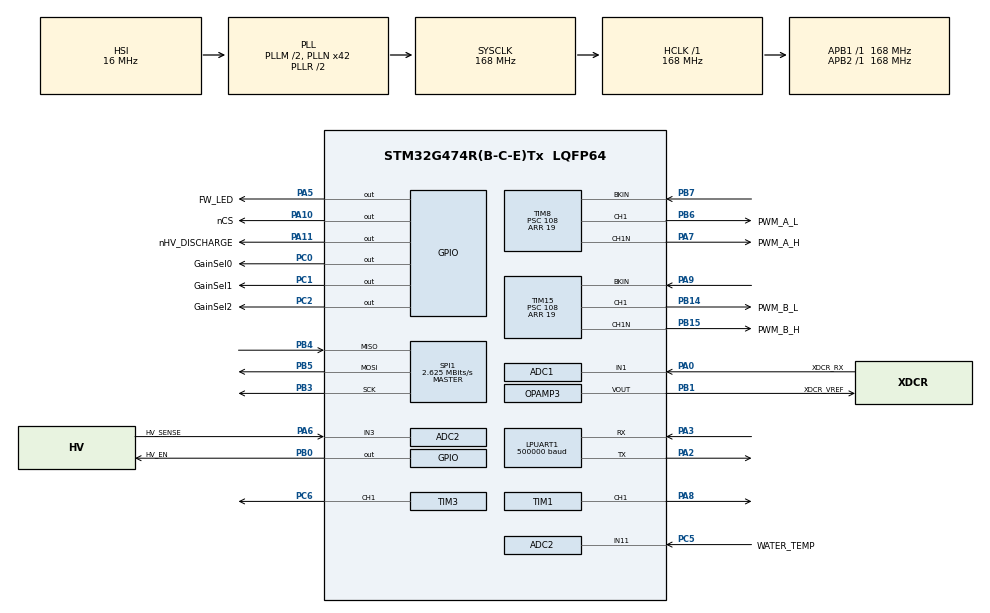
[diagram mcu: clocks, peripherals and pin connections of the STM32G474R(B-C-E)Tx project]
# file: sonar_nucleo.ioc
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ADC1.Channel-0\#ChannelRegularConversion=ADC_CHANNEL_1
ADC1.DMAContinuousRequests=ENABLE
ADC1.ExternalTrigConv=ADC_EXTERNALTRIG_T1_TRGO
ADC1.NbrOfConversionFlag=1
ADC1.OffsetNumber-0\#ChannelRegularConversion=ADC_OFFSET_NONE
ADC1.Rank-0\#ChannelRegularConversion=1
ADC1.SamplingTime-0\#ChannelRegularConversion=ADC_SAMPLETIME_2CYCLES_5
ADC1.master=1
ADC2.Channel-1\#ChannelRegularConversion=ADC_CHANNEL_3
ADC2.Channel-4\#ChannelRegularConversion=ADC_CHANNEL_11
ADC2.ContinuousConvMode=DISABLE
ADC2.DMAContinuousRequests=ENABLE
ADC2.EOCSelection=ADC_EOC_SEQ_CONV
ADC2.NbrOfConversion=2
ADC2.NbrOfConversionFlag=1
ADC2.OffsetNumber-1\#ChannelRegularConversion=ADC_OFFSET_NONE
ADC2.OffsetNumber-4\#ChannelRegularConversion=ADC_OFFSET_NONE
ADC2.Overrun=ADC_OVR_DATA_PRESERVED
ADC2.Rank-1\#ChannelRegularConversion=1
ADC2.Rank-4\#ChannelRegularConversion=2
ADC2.SamplingTime-1\#ChannelRegularConversion=ADC_SAMPLETIME_92CYCLES_5
ADC2.SamplingTime-4\#ChannelRegularConversion=ADC_SAMPLETIME_92CYCLES_5
DAC3.DAC_Channel-DAC_OUT2_Int=DAC_CHANNEL_2
Dma.ADC1.2.Direction=DMA_PERIPH_TO_MEMORY
Dma.ADC1.2.EventEnable=DISABLE
Dma.ADC1.2.Instance=DMA1_Channel3
Dma.ADC1.2.MemDataAlignment=DMA_MDATAALIGN_HALFWORD
Dma.ADC1.2.MemInc=DMA_MINC_ENABLE
Dma.ADC1.2.Mode=DMA_NORMAL
Dma.ADC1.2.PeriphDataAlignment=DMA_PDATAALIGN_HALFWORD
Dma.ADC1.2.PeriphInc=DMA_PINC_DISABLE
Dma.ADC1.2.Polarity=HAL_DMAMUX_REQ_GEN_RISING
Dma.ADC1.2.Priority=DMA_PRIORITY_LOW
Dma.ADC1.2.RequestNumber=1
Dma.ADC1.2.SignalID=NONE
Dma.ADC1.2.SyncEnable=DISABLE
Dma.ADC1.2.SyncPolarity=HAL_DMAMUX_SYNC_NO_EVENT
Dma.ADC1.2.SyncRequestNumber=1
Dma.ADC1.2.SyncSignalID=NONE
Dma.ADC2.0.Direction=DMA_PERIPH_TO_MEMORY
Dma.ADC2.0.EventEnable=DISABLE
Dma.ADC2.0.Instance=DMA1_Channel1
Dma.ADC2.0.MemDataAlignment=DMA_MDATAALIGN_HALFWORD
Dma.ADC2.0.MemInc=DMA_MINC_ENABLE
Dma.ADC2.0.Mode=DMA_NORMAL
Dma.ADC2.0.PeriphDataAlignment=DMA_PDATAALIGN_HALFWORD
Dma.ADC2.0.PeriphInc=DMA_PINC_DISABLE
Dma.ADC2.0.Polarity=HAL_DMAMUX_REQ_GEN_RISING
Dma.ADC2.0.Priority=DMA_PRIORITY_LOW
Dma.ADC2.0.RequestNumber=1
Dma.ADC2.0.SignalID=NONE
Dma.ADC2.0.SyncEnable=DISABLE
Dma.ADC2.0.SyncPolarity=HAL_DMAMUX_SYNC_NO_EVENT
Dma.ADC2.0.SyncRequestNumber=1
Dma.ADC2.0.SyncSignalID=NONE
Dma.Request0=ADC2
Dma.Request1=SPI1_TX
Dma.Request2=ADC1
Dma.SPI1_TX.1.Direction=DMA_MEMORY_TO_PERIPH
Dma.SPI1_TX.1.EventEnable=DISABLE
Dma.SPI1_TX.1.Instance=DMA1_Channel2
Dma.SPI1_TX.1.MemDataAlignment=DMA_MDATAALIGN_BYTE
Dma.SPI1_TX.1.MemInc=DMA_MINC_ENABLE
Dma.SPI1_TX.1.Mode=DMA_NORMAL
Dma.SPI1_TX.1.PeriphDataAlignment=DMA_PDATAALIGN_BYTE
Dma.SPI1_TX.1.PeriphInc=DMA_PINC_DISABLE
Dma.SPI1_TX.1.Polarity=HAL_DMAMUX_REQ_GEN_RISING
Dma.SPI1_TX.1.Priority=DMA_PRIORITY_LOW
Dma.SPI1_TX.1.RequestNumber=1
Dma.SPI1_TX.1.SignalID=NONE
Dma.SPI1_TX.1.SyncEnable=DISABLE
Dma.SPI1_TX.1.SyncPolarity=HAL_DMAMUX_SYNC_NO_EVENT
Dma.SPI1_TX.1.SyncRequestNumber=1
Dma.SPI1_TX.1.SyncSignalID=NONE
LPUART1.BaudRate=500000
Mcu.Family=STM32G4
Mcu.Name=STM32G474R(B-C-E)Tx
Mcu.Package=LQFP64
NVIC.ADC1_2_IRQn=true\:6\:0\:true\:false\:true\:true\:true\:true
NVIC.DMA1_Channel2_IRQn=true\:5\:0\:true\:false\:true\:true\:false\:true
NVIC.LPUART1_IRQn=true\:5\:0\:true\:false\:true\:true\:false\:true
NVIC.PriorityGroup=NVIC_PRIORITYGROUP_4
NVIC.SPI1_IRQn=true\:5\:0\:true\:false\:true\:true\:false\:true
NVIC.TIM2_IRQn=true\:4\:0\:true\:false\:true\:true\:true\:true
NVIC.TIM3_IRQn=true\:5\:0\:true\:false\:true\:true\:true\:true
PA0.GPIO_Label=XDCR_RX
PA0.Mode=IN1-Single-Ended
PA0.Signal=ADC1_IN1
PA10.GPIO_Label=nCS
PA10.Signal=GPIO_Output
PA11.GPIO_Label=nHV_DISCHARGE
PA11.Signal=GPIO_Output
PA13.Mode=Serial_Wire
PA13.Signal=SYS_JTMS-SWDIO
PA14.Mode=Serial_Wire
PA14.Signal=SYS_JTCK-SWCLK
PA2.Mode=Asynchronous
PA2.Signal=LPUART1_TX
PA3.Mode=Asynchronous
PA3.Signal=LPUART1_RX
PA5.GPIO_Label=FW_LED
PA5.Signal=GPIO_Output
PA6.GPIO_Label=HV_SENSE
PA6.Mode=IN3-Single-Ended
PA6.Signal=ADC2_IN3
PA7.GPIO_Label=PWM_A_H
PA7.GPIO_PuPd=GPIO_PULLDOWN
PA7.Mode=PWM Generation1 CH1 CH1N
PA7.Signal=TIM8_CH1N
PA8.Signal=S_TIM1_CH1
PA9.Mode=Activate-Break-Input
PA9.Signal=TIM15_BKIN
PB0.GPIO_Label=HV_EN
PB0.Signal=GPIO_Output
PB1.GPIO_Label=XDCR_VREF
PB1.Mode=Follower-DAC_OUT2-INP
PB1.Signal=OPAMP3_VOUT
PB14.GPIO_Label=PWM_B_L
PB14.GPIO_PuPd=GPIO_PULLDOWN
PB14.Signal=S_TIM15_CH1
PB15.GPIO_Label=PWM_B_H
PB15.GPIO_PuPd=GPIO_PULLDOWN
PB15.Mode=PWM Generation1 CH1 CH1N
PB15.Signal=TIM15_CH1N
PB3.Mode=Full_Duplex_Master
PB3.Signal=SPI1_SCK
PB4.Mode=Full_Duplex_Master
PB4.Signal=SPI1_MISO
PB5.Mode=Full_Duplex_Master
PB5.Signal=SPI1_MOSI
PB6.GPIO_Label=PWM_A_L
PB6.GPIO_PuPd=GPIO_PULLDOWN
PB6.Signal=S_TIM8_CH1
PB7.Mode=Activate-Break-Input
PB7.Signal=TIM8_BKIN
PC0.GPIO_Label=GainSel0
PC0.Signal=GPIO_Output
PC1.GPIO_Label=GainSel1
PC1.Signal=GPIO_Output
PC2.GPIO_Label=GainSel2
PC2.Signal=GPIO_Output
PC5.GPIO_Label=WATER_TEMP
PC5.Mode=IN11-Single-Ended
PC5.Signal=ADC2_IN11
PC6.Signal=S_TIM3_CH1
ProjectManager.HeapSize=0x000
ProjectManager.StackSize=0x400
ProjectManager.TargetToolchain=EWARM V8.50
RCC.ADC12CLockSelection=RCC_ADC12CLKSOURCE_PLL
RCC.ADC12Freq_Value=56000000
RCC.ADC345Freq_Value=168000000
RCC.AHBFreq_Value=168000000
RCC.APB1Freq_Value=168000000
RCC.APB1TimFreq_Value=168000000
RCC.APB2Freq_Value=168000000
RCC.APB2TimFreq_Value=168000000
RCC.CortexFreq_Value=168000000
RCC.EXTERNAL_CLOCK_VALUE=12288000
RCC.HCLKFreq_Value=168000000
RCC.HSE_VALUE=24000000
RCC.HSI48_VALUE=48000000
RCC.HSI_VALUE=16000000
RCC.LSE_VALUE=32768
RCC.PLLM=RCC_PLLM_DIV2
RCC.PLLN=42
RCC.PLLP=RCC_PLLP_DIV6
RCC.SYSCLKFreq_VALUE=168000000
RCC.SYSCLKSource=RCC_SYSCLKSOURCE_PLLCLK
RCC.USBFreq_Value=168000000
RCC.VCOOutputFreq_Value=336000000
SH.S_TIM15_CH1.0=TIM15_CH1,PWM Generation1 CH1 CH1N
SH.S_TIM1_CH1.0=TIM1_CH1,PWM Generation1 CH1
SH.S_TIM3_CH1.0=TIM3_CH1,PWM Generation1 CH1
SH.S_TIM8_CH1.0=TIM8_CH1,PWM Generation1 CH1 CH1N
SPI1.BaudRatePrescaler=SPI_BAUDRATEPRESCALER_64
SPI1.CalculateBaudRate=2.625 MBits/s
SPI1.Direction=SPI_DIRECTION_2LINES
SPI1.Mode=SPI_MODE_MASTER
SPI1.VirtualType=VM_MASTER
TIM1.Channel-PWM\ Generation1\ CH1=TIM_CHANNEL_1
TIM1.PeriodNoDither=44
TIM1.PulseNoDither_1=22
TIM1.TIM_MasterOutputTrigger=TIM_TRGO_UPDATE
TIM15.Channel-PWM\ Generation1\ CH1\ CH1N=TIM_CHANNEL_1
TIM15.Channel-PWM\ Generation2\ No\ Output=TIM_CHANNEL_2
TIM15.DeadTime=50
TIM15.PeriodNoDither=19
TIM15.Prescaler=108
TIM15.PulseNoDither_1=15
TIM15.RepetitionCounter=0
TIM15.TIM_MasterOutputTrigger=TIM_TRGO_UPDATE
TIM2.Channel-PWM\ Generation1\ No\ Output=TIM_CHANNEL_1
TIM2.PulseNoDither_1=500
TIM2.TIM_MasterOutputTrigger=TIM_TRGO_OC1REF
TIM3.Channel-PWM\ Generation1\ CH1=TIM_CHANNEL_1
TIM3.OCMode_PWM-PWM\ Generation1\ CH1=TIM_OCMODE_PWM2
TIM3.PeriodNoDither=30
TIM3.Prescaler=108
TIM3.PulseNoDither_1=25
TIM8.Channel-PWM\ Generation1\ CH1\ CH1N=TIM_CHANNEL_1
TIM8.Channel-PWM\ Generation2\ No\ Output=TIM_CHANNEL_2
TIM8.DeadTime=50
TIM8.OCIdleState_1=TIM_OCIDLESTATE_RESET
TIM8.OCMode_PWM-PWM\ Generation2\ No\ Output=TIM_OCMODE_PWM2
TIM8.OCNIdleState_1=TIM_OCNIDLESTATE_RESET
TIM8.PeriodNoDither=19
TIM8.Prescaler=108
TIM8.PulseNoDither_1=15
TIM8.PulseNoDither_2=10
TIM8.RepetitionCounter=20
TIM8.TIM_MasterOutputTrigger=TIM_TRGO_OC2REF
VP_DAC3_VS_DACI2.Mode=DAC_OUT2_Int
VP_SYS_VS_DBSignals.Mode=DisableDeadBatterySignals
VP_SYS_V_VREFBUF.Mode=ExternalMode
VP_TIM15_VS_ClockSourceINT.Mode=Internal
VP_TIM15_VS_ClockSourceITR.Mode=TriggerSource_ITR5
VP_TIM15_VS_ControllerModeCombinedResetTrigger.Mode=Combined_Reset_Trigger_Mode
VP_TIM15_VS_OPM.Mode=OPM_bit
VP_TIM15_VS_no_output2.Mode=PWM Generation2 No Output
VP_TIM1_VS_ClockSourceINT.Mode=Internal
VP_TIM1_VS_ClockSourceITR.Mode=TriggerSource_ITR1
VP_TIM1_VS_ControllerModeCombinedResetTrigger.Mode=Combined_gated_reset_Mode
VP_TIM2_VS_ClockSourceITR.Mode=TriggerSource_ITR0
VP_TIM2_VS_ControllerModeClock.Mode=Clock Mode
VP_TIM2_VS_no_output1.Mode=PWM Generation1 No Output
VP_TIM3_VS_ClockSourceINT.Mode=Internal
VP_TIM3_VS_ClockSourceITR.Mode=TriggerSource_ITR5
VP_TIM3_VS_ControllerModeCombinedResetTrigger.Mode=Combined_Reset_Trigger_Mode
VP_TIM3_VS_OPM.Mode=OPM_bit
VP_TIM8_VS_ClockSourceINT.Mode=Internal
VP_TIM8_VS_ClockSourceITR.Mode=TriggerSource_ITR1
VP_TIM8_VS_ControllerModeCombinedResetTrigger.Mode=Combined_Reset_Trigger_Mode
VP_TIM8_VS_OPM.Mode=OPM_bit
VP_TIM8_VS_no_output2.Mode=PWM Generation2 No Output
board=custom

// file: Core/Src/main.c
/* USER CODE BEGIN Header */
/**
 ******************************************************************************
 * @file           : main.c
 * @brief          : Main program body
 ******************************************************************************
 * @attention
 *
 * Copyright (c) 2024 STMicroelectronics.
 * All rights reserved.
 *
 * This software is licensed under terms that can be found in the LICENSE file
 * in the root directory of this software component.
 * If no LICENSE file comes with this software, it is provided AS-IS.
 *
 ******************************************************************************
 */
/* USER CODE END Header */
#include "main.h"

/* USER CODE BEGIN Includes */

#include "blinky.h"
#include "bsp.h"
#include "director.h"
#include "pc_com.h"
#include "posted_signals.h"
#include "qpc.h"
#include "reset.h"
#include <stdbool.h>
#include <stdio.h>
#include <stdlib.h>
#include <string.h>

/* USER CODE END Includes */

/* USER CODE BEGIN PTD */

// QP Priorities for Active Objects must be unique
// Lower number is lower priority
// 0 is reserved, lowest available is 1
typedef enum
{
    AO_RESERVED = 0U,
    AO_PRIO_BLINKY,
    AO_PRIO_DIRECTOR,
    AO_PRIO_APP_CLI,
    AO_PRIO_APP_PC_COM,
} AO_Priority_T;

typedef struct
{
    union
    {
        QEvt base_event;
        FloatEvent_T float_event;
    } small_messages;
} SmallMessageUnion_T;
typedef struct
{
    union
    {
        QEvt someMultipleQEvt[4];
        DebugForceFaultEvent_T fault_event;
        DrawBodePlotEvent_T plot_bode_plot_event;
    } medium_messages;
} MediumMessageUnion_T;
typedef struct
{
    union
    {
        QEvt base_event;
        PCCOMPrintEvent_T pc_com_print_evt;
        PCCOMCliDataEvent_T pc_com_cli_event;
    } large_messages;
} LongMessageUnion_T;

/* USER CODE END PTD */

ADC_HandleTypeDef hadc1;
ADC_HandleTypeDef hadc2;
DMA_HandleTypeDef hdma_adc1;
DMA_HandleTypeDef hdma_adc2;

DAC_HandleTypeDef hdac3;

UART_HandleTypeDef hlpuart1;

OPAMP_HandleTypeDef hopamp3;

SPI_HandleTypeDef hspi1;
DMA_HandleTypeDef hdma_spi1_tx;

TIM_HandleTypeDef htim1;
TIM_HandleTypeDef htim2;
TIM_HandleTypeDef htim3;
TIM_HandleTypeDef htim8;
TIM_HandleTypeDef htim15;

void SystemClock_Config(void);
static void MX_GPIO_Init(void);
static void MX_DMA_Init(void);
static void MX_LPUART1_UART_Init(void);
static void MX_ADC1_Init(void);
static void MX_ADC2_Init(void);
static void MX_DAC3_Init(void);
static void MX_TIM8_Init(void);
static void MX_TIM1_Init(void);
static void MX_TIM2_Init(void);
static void MX_TIM15_Init(void);
static void MX_OPAMP3_Init(void);
static void MX_SPI1_Init(void);
static void MX_TIM3_Init(void);

int main(void)
{
    /* USER CODE BEGIN 1 */
    Reset_Init();
    QF_init(); // initialize the framework and the underlying RT kernel
    /* USER CODE END 1 */

    /* MCU Configuration--------------------------------------------------------*/

    /* Reset of all peripherals, Initializes the Flash interface and the Systick. */
    HAL_Init();

    /* Configure the system clock */
    SystemClock_Config();

    /* USER CODE BEGIN SysInit */

    // IN CUBEMX, BE SURE TO SET INTERRUPT PRIORITY FOR ALL "QP AWARE" INTERRUPTS TO AT LEAST 4
    // SINCE QF_AWARE_ISR_CMSIS_PRI is 3

    /* USER CODE END SysInit */

    /* Initialize all configured peripherals */
    MX_GPIO_Init();
    MX_DMA_Init();
    MX_LPUART1_UART_Init();
    MX_ADC1_Init();
    MX_ADC2_Init();
    MX_DAC3_Init();
    MX_TIM8_Init();
    MX_TIM1_Init();
    MX_TIM2_Init();
    MX_TIM15_Init();
    MX_OPAMP3_Init();
    MX_SPI1_Init();
    MX_TIM3_Init();
    /* USER CODE BEGIN 2 */

    uint16_t priority = QF_AWARE_ISR_CMSIS_PRI;
    (void) priority; // be sure to set your QP aware interrupt priority in Cube MX to at least this

    BSP_Init();

    // initialize event pools
    static QF_MPOOL_EL(SmallMessageUnion_T) smlPoolSto[10];
    QF_poolInit(smlPoolSto, sizeof(smlPoolSto), sizeof(smlPoolSto[0]));

    static QF_MPOOL_EL(MediumMessageUnion_T) mediumPoolSto[20];
    QF_poolInit(mediumPoolSto, sizeof(mediumPoolSto), sizeof(mediumPoolSto[0]));

    static QF_MPOOL_EL(LongMessageUnion_T) longPoolSto[20];
    QF_poolInit(longPoolSto, sizeof(longPoolSto), sizeof(longPoolSto[0]));

    size_t smallsize  = sizeof(SmallMessageUnion_T);
    size_t mediumsize = sizeof(MediumMessageUnion_T);
    size_t largesize  = sizeof(LongMessageUnion_T);
    size_t mysize     = sizeof(DrawPlotEvent_T);
    (void) smallsize;
    (void) mediumsize;
    (void) largesize;
    (void) mysize;

    // initialize publish-subscribe
    static QSubscrList subscrSto[PUBSUB_MAX_SIG];
    QActive_psInit(subscrSto, Q_DIM(subscrSto));

    // instantiate and start AOs/threads...

    static QEvt const *blinkyQueueSto[10];
    Blinky_ctor();
    QACTIVE_START(
        AO_Blinky,
        AO_PRIO_BLINKY,        // QP prio. of the AO
        blinkyQueueSto,        // event queue storage
        Q_DIM(blinkyQueueSto), // queue length [events]
        (void *) 0,
        0U,          // no stack storage
        (void *) 0); // no initialization param

    static QEvt const *directorQueueSto[10];
    Director_ctor(BSP_Get_SPI_Write_HV_DPOT());
    QACTIVE_START(
        AO_Director,
        AO_PRIO_DIRECTOR,        // QP prio. of the AO
        directorQueueSto,        // event queue storage
        Q_DIM(directorQueueSto), // queue length [events]
        (void *) 0,
        0U,          // no stack storage
        (void *) 0); // no initialization param

    static QEvt const *app_pc_com_QueueSto[600];
    PC_COM_ctor(BSP_Get_Serial_IO_Interface_UART());
    QACTIVE_START(
        AO_PC_COM,
        AO_PRIO_APP_PC_COM,         // QP prio. of the AO
        app_pc_com_QueueSto,        // event queue storage
        Q_DIM(app_pc_com_QueueSto), // queue length [events]
        (void *) 0,                 // stack storage (not used in QK)
        0U,                         // stack size [bytes] (not used in QK)
        (void *) 0);                // no initialization param

    return QF_run(); // run the QF application
                     /* USER CODE END 2 */

    /* Infinite loop */
    /* USER CODE BEGIN WHILE */
    // while (1)
    // {
    /* USER CODE END WHILE */

}

void SystemClock_Config(void)
{
    RCC_OscInitTypeDef RCC_OscInitStruct = {0};
    RCC_ClkInitTypeDef RCC_ClkInitStruct = {0};

    /** Configure the main internal regulator output voltage
     */
    HAL_PWREx_ControlVoltageScaling(PWR_REGULATOR_VOLTAGE_SCALE1_BOOST);

    /** Initializes the RCC Oscillators according to the specified parameters
     * in the RCC_OscInitTypeDef structure.
     */
    RCC_OscInitStruct.OscillatorType      = RCC_OSCILLATORTYPE_HSI;
    RCC_OscInitStruct.HSIState            = RCC_HSI_ON;
    RCC_OscInitStruct.HSICalibrationValue = RCC_HSICALIBRATION_DEFAULT;
    RCC_OscInitStruct.PLL.PLLState        = RCC_PLL_ON;
    RCC_OscInitStruct.PLL.PLLSource       = RCC_PLLSOURCE_HSI;
    RCC_OscInitStruct.PLL.PLLM            = RCC_PLLM_DIV2;
    RCC_OscInitStruct.PLL.PLLN            = 42;
    RCC_OscInitStruct.PLL.PLLP            = RCC_PLLP_DIV6;
    RCC_OscInitStruct.PLL.PLLQ            = RCC_PLLQ_DIV2;
    RCC_OscInitStruct.PLL.PLLR            = RCC_PLLR_DIV2;
    if (HAL_RCC_OscConfig(&RCC_OscInitStruct) != HAL_OK)
    {
        Error_Handler();
    }

    /** Initializes the CPU, AHB and APB buses clocks
     */
    RCC_ClkInitStruct.ClockType = RCC_CLOCKTYPE_HCLK | RCC_CLOCKTYPE_SYSCLK | RCC_CLOCKTYPE_PCLK1 |
        RCC_CLOCKTYPE_PCLK2;
    RCC_ClkInitStruct.SYSCLKSource   = RCC_SYSCLKSOURCE_PLLCLK;
    RCC_ClkInitStruct.AHBCLKDivider  = RCC_SYSCLK_DIV1;
    RCC_ClkInitStruct.APB1CLKDivider = RCC_HCLK_DIV1;
    RCC_ClkInitStruct.APB2CLKDivider = RCC_HCLK_DIV1;

    if (HAL_RCC_ClockConfig(&RCC_ClkInitStruct, FLASH_LATENCY_4) != HAL_OK)
    {
        Error_Handler();
    }
}

static void MX_ADC1_Init(void)
{

    ADC_MultiModeTypeDef multimode = {0};
    ADC_ChannelConfTypeDef sConfig = {0};

    /** Common config
     */
    hadc1.Instance                   = ADC1;
    hadc1.Init.ClockPrescaler        = ADC_CLOCK_SYNC_PCLK_DIV4;
    hadc1.Init.Resolution            = ADC_RESOLUTION_12B;
    hadc1.Init.DataAlign             = ADC_DATAALIGN_RIGHT;
    hadc1.Init.GainCompensation      = 0;
    hadc1.Init.ScanConvMode          = ADC_SCAN_DISABLE;
    hadc1.Init.EOCSelection          = ADC_EOC_SINGLE_CONV;
    hadc1.Init.LowPowerAutoWait      = DISABLE;
    hadc1.Init.ContinuousConvMode    = DISABLE;
    hadc1.Init.NbrOfConversion       = 1;
    hadc1.Init.DiscontinuousConvMode = DISABLE;
    hadc1.Init.ExternalTrigConv      = ADC_EXTERNALTRIG_T1_TRGO;
    hadc1.Init.ExternalTrigConvEdge  = ADC_EXTERNALTRIGCONVEDGE_RISING;
    hadc1.Init.DMAContinuousRequests = ENABLE;
    hadc1.Init.Overrun               = ADC_OVR_DATA_PRESERVED;
    hadc1.Init.OversamplingMode      = DISABLE;
    if (HAL_ADC_Init(&hadc1) != HAL_OK)
    {
        Error_Handler();
    }

    /** Configure the ADC multi-mode
     */
    multimode.Mode = ADC_MODE_INDEPENDENT;
    if (HAL_ADCEx_MultiModeConfigChannel(&hadc1, &multimode) != HAL_OK)
    {
        Error_Handler();
    }

    /** Configure Regular Channel
     */
    sConfig.Channel      = ADC_CHANNEL_1;
    sConfig.Rank         = ADC_REGULAR_RANK_1;
    sConfig.SamplingTime = ADC_SAMPLETIME_2CYCLES_5;
    sConfig.SingleDiff   = ADC_SINGLE_ENDED;
    sConfig.OffsetNumber = ADC_OFFSET_NONE;
    sConfig.Offset       = 0;
    if (HAL_ADC_ConfigChannel(&hadc1, &sConfig) != HAL_OK)
    {
        Error_Handler();
    }
}

static void MX_ADC2_Init(void)
{

    ADC_ChannelConfTypeDef sConfig = {0};

    /** Common config
     */
    hadc2.Instance                   = ADC2;
    hadc2.Init.ClockPrescaler        = ADC_CLOCK_SYNC_PCLK_DIV4;
    hadc2.Init.Resolution            = ADC_RESOLUTION_12B;
    hadc2.Init.DataAlign             = ADC_DATAALIGN_RIGHT;
    hadc2.Init.GainCompensation      = 0;
    hadc2.Init.ScanConvMode          = ADC_SCAN_ENABLE;
    hadc2.Init.EOCSelection          = ADC_EOC_SEQ_CONV;
    hadc2.Init.LowPowerAutoWait      = DISABLE;
    hadc2.Init.ContinuousConvMode    = DISABLE;
    hadc2.Init.NbrOfConversion       = 2;
    hadc2.Init.DiscontinuousConvMode = DISABLE;
    hadc2.Init.ExternalTrigConv      = ADC_SOFTWARE_START;
    hadc2.Init.ExternalTrigConvEdge  = ADC_EXTERNALTRIGCONVEDGE_NONE;
    hadc2.Init.DMAContinuousRequests = ENABLE;
    hadc2.Init.Overrun               = ADC_OVR_DATA_PRESERVED;
    hadc2.Init.OversamplingMode      = DISABLE;
    if (HAL_ADC_Init(&hadc2) != HAL_OK)
    {
        Error_Handler();
    }

    /** Configure Regular Channel
     */
    sConfig.Channel      = ADC_CHANNEL_3;
    sConfig.Rank         = ADC_REGULAR_RANK_1;
    sConfig.SamplingTime = ADC_SAMPLETIME_92CYCLES_5;
    sConfig.SingleDiff   = ADC_SINGLE_ENDED;
    sConfig.OffsetNumber = ADC_OFFSET_NONE;
    sConfig.Offset       = 0;
    if (HAL_ADC_ConfigChannel(&hadc2, &sConfig) != HAL_OK)
    {
        Error_Handler();
    }

    /** Configure Regular Channel
     */
    sConfig.Channel = ADC_CHANNEL_11;
    sConfig.Rank    = ADC_REGULAR_RANK_2;
    if (HAL_ADC_ConfigChannel(&hadc2, &sConfig) != HAL_OK)
    {
        Error_Handler();
    }
}

static void MX_DAC3_Init(void)
{

    DAC_ChannelConfTypeDef sConfig = {0};

    /** DAC Initialization
     */
    hdac3.Instance = DAC3;
    if (HAL_DAC_Init(&hdac3) != HAL_OK)
    {
        Error_Handler();
    }

    /** DAC channel OUT2 config
     */
    sConfig.DAC_HighFrequency           = DAC_HIGH_FREQUENCY_INTERFACE_MODE_AUTOMATIC;
    sConfig.DAC_DMADoubleDataMode       = DISABLE;
    sConfig.DAC_SignedFormat            = DISABLE;
    sConfig.DAC_SampleAndHold           = DAC_SAMPLEANDHOLD_DISABLE;
    sConfig.DAC_Trigger                 = DAC_TRIGGER_NONE;
    sConfig.DAC_Trigger2                = DAC_TRIGGER_NONE;
    sConfig.DAC_OutputBuffer            = DAC_OUTPUTBUFFER_DISABLE;
    sConfig.DAC_ConnectOnChipPeripheral = DAC_CHIPCONNECT_INTERNAL;
    sConfig.DAC_UserTrimming            = DAC_TRIMMING_FACTORY;
    if (HAL_DAC_ConfigChannel(&hdac3, &sConfig, DAC_CHANNEL_2) != HAL_OK)
    {
        Error_Handler();
    }
}

static void MX_LPUART1_UART_Init(void)
{

    hlpuart1.Instance                    = LPUART1;
    hlpuart1.Init.BaudRate               = 500000;
    hlpuart1.Init.WordLength             = UART_WORDLENGTH_8B;
    hlpuart1.Init.StopBits               = UART_STOPBITS_1;
    hlpuart1.Init.Parity                 = UART_PARITY_NONE;
    hlpuart1.Init.Mode                   = UART_MODE_TX_RX;
    hlpuart1.Init.HwFlowCtl              = UART_HWCONTROL_NONE;
    hlpuart1.Init.OneBitSampling         = UART_ONE_BIT_SAMPLE_DISABLE;
    hlpuart1.Init.ClockPrescaler         = UART_PRESCALER_DIV1;
    hlpuart1.AdvancedInit.AdvFeatureInit = UART_ADVFEATURE_NO_INIT;
    if (HAL_UART_Init(&hlpuart1) != HAL_OK)
    {
        Error_Handler();
    }
    if (HAL_UARTEx_SetTxFifoThreshold(&hlpuart1, UART_TXFIFO_THRESHOLD_1_8) != HAL_OK)
    {
        Error_Handler();
    }
    if (HAL_UARTEx_SetRxFifoThreshold(&hlpuart1, UART_RXFIFO_THRESHOLD_1_8) != HAL_OK)
    {
        Error_Handler();
    }
    if (HAL_UARTEx_DisableFifoMode(&hlpuart1) != HAL_OK)
    {
        Error_Handler();
    }
}

static void MX_OPAMP3_Init(void)
{

    hopamp3.Instance                    = OPAMP3;
    hopamp3.Init.PowerMode              = OPAMP_POWERMODE_NORMALSPEED;
    hopamp3.Init.Mode                   = OPAMP_FOLLOWER_MODE;
    hopamp3.Init.NonInvertingInput      = OPAMP_NONINVERTINGINPUT_DAC;
    hopamp3.Init.InternalOutput         = DISABLE;
    hopamp3.Init.TimerControlledMuxmode = OPAMP_TIMERCONTROLLEDMUXMODE_DISABLE;
    hopamp3.Init.UserTrimming           = OPAMP_TRIMMING_FACTORY;
    if (HAL_OPAMP_Init(&hopamp3) != HAL_OK)
    {
        Error_Handler();
    }
}

static void MX_SPI1_Init(void)
{

    /* SPI1 parameter configuration*/
    hspi1.Instance               = SPI1;
    hspi1.Init.Mode              = SPI_MODE_MASTER;
    hspi1.Init.Direction         = SPI_DIRECTION_2LINES;
    hspi1.Init.DataSize          = SPI_DATASIZE_4BIT;
    hspi1.Init.CLKPolarity       = SPI_POLARITY_LOW;
    hspi1.Init.CLKPhase          = SPI_PHASE_1EDGE;
    hspi1.Init.NSS               = SPI_NSS_SOFT;
    hspi1.Init.BaudRatePrescaler = SPI_BAUDRATEPRESCALER_64;
    hspi1.Init.FirstBit          = SPI_FIRSTBIT_MSB;
    hspi1.Init.TIMode            = SPI_TIMODE_DISABLE;
    hspi1.Init.CRCCalculation    = SPI_CRCCALCULATION_DISABLE;
    hspi1.Init.CRCPolynomial     = 7;
    hspi1.Init.CRCLength         = SPI_CRC_LENGTH_DATASIZE;
    hspi1.Init.NSSPMode          = SPI_NSS_PULSE_ENABLE;
    if (HAL_SPI_Init(&hspi1) != HAL_OK)
    {
        Error_Handler();
    }
}

static void MX_TIM1_Init(void)
{

    TIM_ClockConfigTypeDef sClockSourceConfig           = {0};
    TIM_SlaveConfigTypeDef sSlaveConfig                 = {0};
    TIM_MasterConfigTypeDef sMasterConfig               = {0};
    TIM_OC_InitTypeDef sConfigOC                        = {0};
    TIM_BreakDeadTimeConfigTypeDef sBreakDeadTimeConfig = {0};

    htim1.Instance               = TIM1;
    htim1.Init.Prescaler         = 0;
    htim1.Init.CounterMode       = TIM_COUNTERMODE_UP;
    htim1.Init.Period            = 44;
    htim1.Init.ClockDivision     = TIM_CLOCKDIVISION_DIV1;
    htim1.Init.RepetitionCounter = 0;
    htim1.Init.AutoReloadPreload = TIM_AUTORELOAD_PRELOAD_DISABLE;
    if (HAL_TIM_Base_Init(&htim1) != HAL_OK)
    {
        Error_Handler();
    }
    sClockSourceConfig.ClockSource = TIM_CLOCKSOURCE_INTERNAL;
    if (HAL_TIM_ConfigClockSource(&htim1, &sClockSourceConfig) != HAL_OK)
    {
        Error_Handler();
    }
    if (HAL_TIM_PWM_Init(&htim1) != HAL_OK)
    {
        Error_Handler();
    }
    sSlaveConfig.SlaveMode    = TIM_SLAVEMODE_COMBINED_GATEDRESET;
    sSlaveConfig.InputTrigger = TIM_TS_ITR1;
    if (HAL_TIM_SlaveConfigSynchro(&htim1, &sSlaveConfig) != HAL_OK)
    {
        Error_Handler();
    }
    sMasterConfig.MasterOutputTrigger  = TIM_TRGO_UPDATE;
    sMasterConfig.MasterOutputTrigger2 = TIM_TRGO2_RESET;
    sMasterConfig.MasterSlaveMode      = TIM_MASTERSLAVEMODE_DISABLE;
    if (HAL_TIMEx_MasterConfigSynchronization(&htim1, &sMasterConfig) != HAL_OK)
    {
        Error_Handler();
    }
    sConfigOC.OCMode       = TIM_OCMODE_PWM1;
    sConfigOC.Pulse        = 22;
    sConfigOC.OCPolarity   = TIM_OCPOLARITY_HIGH;
    sConfigOC.OCNPolarity  = TIM_OCNPOLARITY_HIGH;
    sConfigOC.OCFastMode   = TIM_OCFAST_DISABLE;
    sConfigOC.OCIdleState  = TIM_OCIDLESTATE_RESET;
    sConfigOC.OCNIdleState = TIM_OCNIDLESTATE_RESET;
    if (HAL_TIM_PWM_ConfigChannel(&htim1, &sConfigOC, TIM_CHANNEL_1) != HAL_OK)
    {
        Error_Handler();
    }
    sBreakDeadTimeConfig.OffStateRunMode  = TIM_OSSR_DISABLE;
    sBreakDeadTimeConfig.OffStateIDLEMode = TIM_OSSI_DISABLE;
    sBreakDeadTimeConfig.LockLevel        = TIM_LOCKLEVEL_OFF;
    sBreakDeadTimeConfig.DeadTime         = 0;
    sBreakDeadTimeConfig.BreakState       = TIM_BREAK_DISABLE;
    sBreakDeadTimeConfig.BreakPolarity    = TIM_BREAKPOLARITY_HIGH;
    sBreakDeadTimeConfig.BreakFilter      = 0;
    sBreakDeadTimeConfig.BreakAFMode      = TIM_BREAK_AFMODE_INPUT;
    sBreakDeadTimeConfig.Break2State      = TIM_BREAK2_DISABLE;
    sBreakDeadTimeConfig.Break2Polarity   = TIM_BREAK2POLARITY_HIGH;
    sBreakDeadTimeConfig.Break2Filter     = 0;
    sBreakDeadTimeConfig.Break2AFMode     = TIM_BREAK_AFMODE_INPUT;
    sBreakDeadTimeConfig.AutomaticOutput  = TIM_AUTOMATICOUTPUT_DISABLE;
    if (HAL_TIMEx_ConfigBreakDeadTime(&htim1, &sBreakDeadTimeConfig) != HAL_OK)
    {
        Error_Handler();
    }
    HAL_TIM_MspPostInit(&htim1);
}

static void MX_TIM2_Init(void)
{

    TIM_SlaveConfigTypeDef sSlaveConfig   = {0};
    TIM_MasterConfigTypeDef sMasterConfig = {0};
    TIM_OC_InitTypeDef sConfigOC          = {0};

    htim2.Instance               = TIM2;
    htim2.Init.Prescaler         = 0;
    htim2.Init.CounterMode       = TIM_COUNTERMODE_UP;
    htim2.Init.Period            = 4294967295;
    htim2.Init.ClockDivision     = TIM_CLOCKDIVISION_DIV1;
    htim2.Init.AutoReloadPreload = TIM_AUTORELOAD_PRELOAD_DISABLE;
    if (HAL_TIM_Base_Init(&htim2) != HAL_OK)
    {
        Error_Handler();
    }
    if (HAL_TIM_PWM_Init(&htim2) != HAL_OK)
    {
        Error_Handler();
    }
    sSlaveConfig.SlaveMode    = TIM_SLAVEMODE_EXTERNAL1;
    sSlaveConfig.InputTrigger = TIM_TS_ITR0;
    if (HAL_TIM_SlaveConfigSynchro(&htim2, &sSlaveConfig) != HAL_OK)
    {
        Error_Handler();
    }
    sMasterConfig.MasterOutputTrigger = TIM_TRGO_OC1REF;
    sMasterConfig.MasterSlaveMode     = TIM_MASTERSLAVEMODE_DISABLE;
    if (HAL_TIMEx_MasterConfigSynchronization(&htim2, &sMasterConfig) != HAL_OK)
    {
        Error_Handler();
    }
    sConfigOC.OCMode     = TIM_OCMODE_PWM1;
    sConfigOC.Pulse      = 500;
    sConfigOC.OCPolarity = TIM_OCPOLARITY_HIGH;
    sConfigOC.OCFastMode = TIM_OCFAST_DISABLE;
    if (HAL_TIM_PWM_ConfigChannel(&htim2, &sConfigOC, TIM_CHANNEL_1) != HAL_OK)
    {
        Error_Handler();
    }
}

static void MX_TIM3_Init(void)
{

    TIM_ClockConfigTypeDef sClockSourceConfig = {0};
    TIM_SlaveConfigTypeDef sSlaveConfig       = {0};
    TIM_MasterConfigTypeDef sMasterConfig     = {0};
    TIM_OC_InitTypeDef sConfigOC              = {0};

    htim3.Instance               = TIM3;
    htim3.Init.Prescaler         = 108;
    htim3.Init.CounterMode       = TIM_COUNTERMODE_UP;
    htim3.Init.Period            = 30;
    htim3.Init.ClockDivision     = TIM_CLOCKDIVISION_DIV1;
    htim3.Init.AutoReloadPreload = TIM_AUTORELOAD_PRELOAD_DISABLE;
    if (HAL_TIM_Base_Init(&htim3) != HAL_OK)
    {
        Error_Handler();
    }
    sClockSourceConfig.ClockSource = TIM_CLOCKSOURCE_INTERNAL;
    if (HAL_TIM_ConfigClockSource(&htim3, &sClockSourceConfig) != HAL_OK)
    {
        Error_Handler();
    }
    if (HAL_TIM_PWM_Init(&htim3) != HAL_OK)
    {
        Error_Handler();
    }
    if (HAL_TIM_OnePulse_Init(&htim3, TIM_OPMODE_SINGLE) != HAL_OK)
    {
        Error_Handler();
    }
    sSlaveConfig.SlaveMode    = TIM_SLAVEMODE_COMBINED_RESETTRIGGER;
    sSlaveConfig.InputTrigger = TIM_TS_ITR5;
    if (HAL_TIM_SlaveConfigSynchro(&htim3, &sSlaveConfig) != HAL_OK)
    {
        Error_Handler();
    }
    sMasterConfig.MasterOutputTrigger = TIM_TRGO_RESET;
    sMasterConfig.MasterSlaveMode     = TIM_MASTERSLAVEMODE_DISABLE;
    if (HAL_TIMEx_MasterConfigSynchronization(&htim3, &sMasterConfig) != HAL_OK)
    {
        Error_Handler();
    }
    sConfigOC.OCMode     = TIM_OCMODE_PWM2;
    sConfigOC.Pulse      = 25;
    sConfigOC.OCPolarity = TIM_OCPOLARITY_HIGH;
    sConfigOC.OCFastMode = TIM_OCFAST_DISABLE;
    if (HAL_TIM_PWM_ConfigChannel(&htim3, &sConfigOC, TIM_CHANNEL_1) != HAL_OK)
    {
        Error_Handler();
    }
    HAL_TIM_MspPostInit(&htim3);
}

static void MX_TIM8_Init(void)
{

    TIM_ClockConfigTypeDef sClockSourceConfig           = {0};
    TIM_SlaveConfigTypeDef sSlaveConfig                 = {0};
    TIM_MasterConfigTypeDef sMasterConfig               = {0};
    TIMEx_BreakInputConfigTypeDef sBreakInputConfig     = {0};
    TIM_OC_InitTypeDef sConfigOC                        = {0};
    TIM_BreakDeadTimeConfigTypeDef sBreakDeadTimeConfig = {0};

    htim8.Instance               = TIM8;
    htim8.Init.Prescaler         = 108;
    htim8.Init.CounterMode       = TIM_COUNTERMODE_UP;
    htim8.Init.Period            = 19;
    htim8.Init.ClockDivision     = TIM_CLOCKDIVISION_DIV1;
    htim8.Init.RepetitionCounter = 20;
    htim8.Init.AutoReloadPreload = TIM_AUTORELOAD_PRELOAD_DISABLE;
    if (HAL_TIM_Base_Init(&htim8) != HAL_OK)
    {
        Error_Handler();
    }
    sClockSourceConfig.ClockSource = TIM_CLOCKSOURCE_INTERNAL;
    if (HAL_TIM_ConfigClockSource(&htim8, &sClockSourceConfig) != HAL_OK)
    {
        Error_Handler();
    }
    if (HAL_TIM_PWM_Init(&htim8) != HAL_OK)
    {
        Error_Handler();
    }
    if (HAL_TIM_OnePulse_Init(&htim8, TIM_OPMODE_SINGLE) != HAL_OK)
    {
        Error_Handler();
    }
    sSlaveConfig.SlaveMode    = TIM_SLAVEMODE_COMBINED_RESETTRIGGER;
    sSlaveConfig.InputTrigger = TIM_TS_ITR1;
    if (HAL_TIM_SlaveConfigSynchro(&htim8, &sSlaveConfig) != HAL_OK)
    {
        Error_Handler();
    }
    sMasterConfig.MasterOutputTrigger  = TIM_TRGO_OC2REF;
    sMasterConfig.MasterOutputTrigger2 = TIM_TRGO2_RESET;
    sMasterConfig.MasterSlaveMode      = TIM_MASTERSLAVEMODE_DISABLE;
    if (HAL_TIMEx_MasterConfigSynchronization(&htim8, &sMasterConfig) != HAL_OK)
    {
        Error_Handler();
    }
    sBreakInputConfig.Source   = TIM_BREAKINPUTSOURCE_BKIN;
    sBreakInputConfig.Enable   = TIM_BREAKINPUTSOURCE_ENABLE;
    sBreakInputConfig.Polarity = TIM_BREAKINPUTSOURCE_POLARITY_HIGH;
    if (HAL_TIMEx_ConfigBreakInput(&htim8, TIM_BREAKINPUT_BRK, &sBreakInputConfig) != HAL_OK)
    {
        Error_Handler();
    }
    sConfigOC.OCMode       = TIM_OCMODE_PWM1;
    sConfigOC.Pulse        = 15;
    sConfigOC.OCPolarity   = TIM_OCPOLARITY_HIGH;
    sConfigOC.OCNPolarity  = TIM_OCNPOLARITY_HIGH;
    sConfigOC.OCFastMode   = TIM_OCFAST_DISABLE;
    sConfigOC.OCIdleState  = TIM_OCIDLESTATE_RESET;
    sConfigOC.OCNIdleState = TIM_OCNIDLESTATE_RESET;
    if (HAL_TIM_PWM_ConfigChannel(&htim8, &sConfigOC, TIM_CHANNEL_1) != HAL_OK)
    {
        Error_Handler();
    }
    sConfigOC.OCMode = TIM_OCMODE_PWM2;
    sConfigOC.Pulse  = 10;
    if (HAL_TIM_PWM_ConfigChannel(&htim8, &sConfigOC, TIM_CHANNEL_2) != HAL_OK)
    {
        Error_Handler();
    }
    sBreakDeadTimeConfig.OffStateRunMode  = TIM_OSSR_DISABLE;
    sBreakDeadTimeConfig.OffStateIDLEMode = TIM_OSSI_DISABLE;
    sBreakDeadTimeConfig.LockLevel        = TIM_LOCKLEVEL_OFF;
    sBreakDeadTimeConfig.DeadTime         = 50;
    sBreakDeadTimeConfig.BreakState       = TIM_BREAK_ENABLE;
    sBreakDeadTimeConfig.BreakPolarity    = TIM_BREAKPOLARITY_HIGH;
    sBreakDeadTimeConfig.BreakFilter      = 0;
    sBreakDeadTimeConfig.BreakAFMode      = TIM_BREAK_AFMODE_INPUT;
    sBreakDeadTimeConfig.Break2State      = TIM_BREAK2_DISABLE;
    sBreakDeadTimeConfig.Break2Polarity   = TIM_BREAK2POLARITY_HIGH;
    sBreakDeadTimeConfig.Break2Filter     = 0;
    sBreakDeadTimeConfig.Break2AFMode     = TIM_BREAK_AFMODE_INPUT;
    sBreakDeadTimeConfig.AutomaticOutput  = TIM_AUTOMATICOUTPUT_DISABLE;
    if (HAL_TIMEx_ConfigBreakDeadTime(&htim8, &sBreakDeadTimeConfig) != HAL_OK)
    {
        Error_Handler();
    }
    HAL_TIM_MspPostInit(&htim8);
}

static void MX_TIM15_Init(void)
{

    TIM_ClockConfigTypeDef sClockSourceConfig           = {0};
    TIM_SlaveConfigTypeDef sSlaveConfig                 = {0};
    TIM_MasterConfigTypeDef sMasterConfig               = {0};
    TIMEx_BreakInputConfigTypeDef sBreakInputConfig     = {0};
    TIM_OC_InitTypeDef sConfigOC                        = {0};
    TIM_BreakDeadTimeConfigTypeDef sBreakDeadTimeConfig = {0};

    htim15.Instance               = TIM15;
    htim15.Init.Prescaler         = 108;
    htim15.Init.CounterMode       = TIM_COUNTERMODE_UP;
    htim15.Init.Period            = 19;
    htim15.Init.ClockDivision     = TIM_CLOCKDIVISION_DIV1;
    htim15.Init.RepetitionCounter = 0;
    htim15.Init.AutoReloadPreload = TIM_AUTORELOAD_PRELOAD_DISABLE;
    if (HAL_TIM_Base_Init(&htim15) != HAL_OK)
    {
        Error_Handler();
    }
    sClockSourceConfig.ClockSource = TIM_CLOCKSOURCE_INTERNAL;
    if (HAL_TIM_ConfigClockSource(&htim15, &sClockSourceConfig) != HAL_OK)
    {
        Error_Handler();
    }
    if (HAL_TIM_PWM_Init(&htim15) != HAL_OK)
    {
        Error_Handler();
    }
    if (HAL_TIM_OnePulse_Init(&htim15, TIM_OPMODE_SINGLE) != HAL_OK)
    {
        Error_Handler();
    }
    sSlaveConfig.SlaveMode    = TIM_SLAVEMODE_COMBINED_RESETTRIGGER;
    sSlaveConfig.InputTrigger = TIM_TS_ITR5;
    if (HAL_TIM_SlaveConfigSynchro(&htim15, &sSlaveConfig) != HAL_OK)
    {
        Error_Handler();
    }
    sMasterConfig.MasterOutputTrigger = TIM_TRGO_UPDATE;
    sMasterConfig.MasterSlaveMode     = TIM_MASTERSLAVEMODE_DISABLE;
    if (HAL_TIMEx_MasterConfigSynchronization(&htim15, &sMasterConfig) != HAL_OK)
    {
        Error_Handler();
    }
    sBreakInputConfig.Source   = TIM_BREAKINPUTSOURCE_BKIN;
    sBreakInputConfig.Enable   = TIM_BREAKINPUTSOURCE_ENABLE;
    sBreakInputConfig.Polarity = TIM_BREAKINPUTSOURCE_POLARITY_HIGH;
    if (HAL_TIMEx_ConfigBreakInput(&htim15, TIM_BREAKINPUT_BRK, &sBreakInputConfig) != HAL_OK)
    {
        Error_Handler();
    }
    sConfigOC.OCMode       = TIM_OCMODE_PWM1;
    sConfigOC.Pulse        = 15;
    sConfigOC.OCPolarity   = TIM_OCPOLARITY_HIGH;
    sConfigOC.OCNPolarity  = TIM_OCNPOLARITY_HIGH;
    sConfigOC.OCFastMode   = TIM_OCFAST_DISABLE;
    sConfigOC.OCIdleState  = TIM_OCIDLESTATE_RESET;
    sConfigOC.OCNIdleState = TIM_OCNIDLESTATE_RESET;
    if (HAL_TIM_PWM_ConfigChannel(&htim15, &sConfigOC, TIM_CHANNEL_1) != HAL_OK)
    {
        Error_Handler();
    }
    sConfigOC.Pulse = 0;
    if (HAL_TIM_PWM_ConfigChannel(&htim15, &sConfigOC, TIM_CHANNEL_2) != HAL_OK)
    {
        Error_Handler();
    }
    sBreakDeadTimeConfig.OffStateRunMode  = TIM_OSSR_DISABLE;
    sBreakDeadTimeConfig.OffStateIDLEMode = TIM_OSSI_DISABLE;
    sBreakDeadTimeConfig.LockLevel        = TIM_LOCKLEVEL_OFF;
    sBreakDeadTimeConfig.DeadTime         = 50;
    sBreakDeadTimeConfig.BreakState       = TIM_BREAK_ENABLE;
    sBreakDeadTimeConfig.BreakPolarity    = TIM_BREAKPOLARITY_HIGH;
    sBreakDeadTimeConfig.BreakFilter      = 0;
    sBreakDeadTimeConfig.AutomaticOutput  = TIM_AUTOMATICOUTPUT_DISABLE;
    if (HAL_TIMEx_ConfigBreakDeadTime(&htim15, &sBreakDeadTimeConfig) != HAL_OK)
    {
        Error_Handler();
    }
    HAL_TIM_MspPostInit(&htim15);
}

static void MX_DMA_Init(void)
{
    /* DMA controller clock enable */
    __HAL_RCC_DMAMUX1_CLK_ENABLE();
    __HAL_RCC_DMA1_CLK_ENABLE();

    /* DMA interrupt init */
    /* DMA1_Channel2_IRQn interrupt configuration */
    HAL_NVIC_SetPriority(DMA1_Channel2_IRQn, 5, 0);
    HAL_NVIC_EnableIRQ(DMA1_Channel2_IRQn);
}

static void MX_GPIO_Init(void)
{
    GPIO_InitTypeDef GPIO_InitStruct = {0};

    /* GPIO Ports Clock Enable */
    __HAL_RCC_GPIOC_CLK_ENABLE();
    __HAL_RCC_GPIOA_CLK_ENABLE();
    __HAL_RCC_GPIOB_CLK_ENABLE();

    /*Configure GPIO pin Output Level */
    HAL_GPIO_WritePin(GPIOC, GainSel0_Pin | GainSel1_Pin | GainSel2_Pin, GPIO_PIN_RESET);

    /*Configure GPIO pin Output Level */
    HAL_GPIO_WritePin(GPIOA, FW_LED_Pin | nCS_Pin | nHV_DISCHARGE_Pin, GPIO_PIN_RESET);

    /*Configure GPIO pin Output Level */
    HAL_GPIO_WritePin(HV_EN_GPIO_Port, HV_EN_Pin, GPIO_PIN_RESET);

    /*Configure GPIO pins : GainSel0_Pin GainSel1_Pin GainSel2_Pin */
    GPIO_InitStruct.Pin   = GainSel0_Pin | GainSel1_Pin | GainSel2_Pin;
    GPIO_InitStruct.Mode  = GPIO_MODE_OUTPUT_PP;
    GPIO_InitStruct.Pull  = GPIO_NOPULL;
    GPIO_InitStruct.Speed = GPIO_SPEED_FREQ_LOW;
    HAL_GPIO_Init(GPIOC, &GPIO_InitStruct);

    /*Configure GPIO pins : FW_LED_Pin nCS_Pin nHV_DISCHARGE_Pin */
    GPIO_InitStruct.Pin   = FW_LED_Pin | nCS_Pin | nHV_DISCHARGE_Pin;
    GPIO_InitStruct.Mode  = GPIO_MODE_OUTPUT_PP;
    GPIO_InitStruct.Pull  = GPIO_NOPULL;
    GPIO_InitStruct.Speed = GPIO_SPEED_FREQ_LOW;
    HAL_GPIO_Init(GPIOA, &GPIO_InitStruct);

    /*Configure GPIO pin : HV_EN_Pin */
    GPIO_InitStruct.Pin   = HV_EN_Pin;
    GPIO_InitStruct.Mode  = GPIO_MODE_OUTPUT_PP;
    GPIO_InitStruct.Pull  = GPIO_NOPULL;
    GPIO_InitStruct.Speed = GPIO_SPEED_FREQ_LOW;
    HAL_GPIO_Init(HV_EN_GPIO_Port, &GPIO_InitStruct);

}

void Error_Handler(void)
{
    __disable_irq();
    while (1)
    {
    }
}
